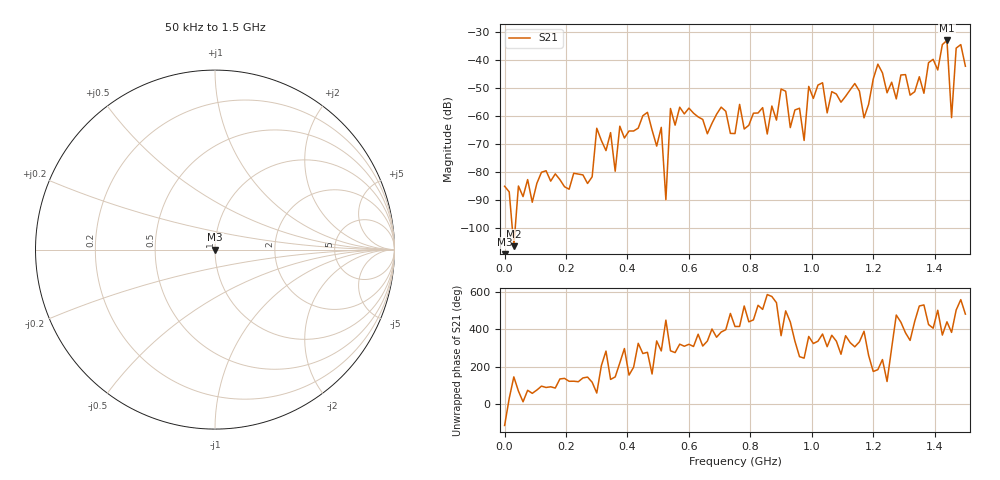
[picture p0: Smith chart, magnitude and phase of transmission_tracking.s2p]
! Created with skrf 1.8.0 (http://scikit-rf.org).
# Hz S RI R 50.0
!freq ReS11 ImS11 ReS21 ImS21 ReS12 ImS12 ReS22 ImS22
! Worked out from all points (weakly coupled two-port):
!   101 points, 50 kHz to 1.5 GHz, reference 50 ohm
!   highest |S21| = -32.86 dB at 1.44 GHz (marker M1); lowest = -106.4 dB at 30.05 MHz (marker M2)
!   lowest |S11| = - dB at 50 kHz (marker M3), VSWR 1.00, Z = 50 + j0 ohm
!   |S11| at or under -10 dB: start of sweep to end of sweep
!   S12 and S22 are empty: the file has one direction only
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50000  0 0  -2.4e-05 -5.1e-05  0 0  0 0
3.0049e7  0 0  -3.92e-06 2.75e-06  0 0  0 0
2.550415e8  0 0  -6.81e-05 5.86e-05  0 0  0 0
3.0004e8  0 0  0.000321 0.000522  0 0  0 0
3.60038e8  0 0  -8.53e-05 6.05e-05  0 0  0 0
3.750375e8  0 0  -0.000513 -0.000427  0 0  0 0
5.10033e8  0 0  0.000152 -0.000617  0 0  0 0
5.250325e8  0 0  6.88e-07 3.25e-05  0 0  0 0
5.40032e8  0 0  0.000347 -0.00134  0 0  0 0
7.50025e8  0 0  0.000285 0.000403  0 0  0 0
8.550215e8  0 0  -0.000337 -0.000347  0 0  0 0
9.0002e8  0 0  0.00306 0.000291  0 0  0 0
9.750175e8  0 0  -0.000155 -0.000337  0 0  0 0
9.90017e8  0 0  0.00343 8.5e-05  0 0  0 0
1.005016e9  0 0  0.00168 -0.00124  0 0  0 0
1.170011e9  0 0  0.000822 0.00046  0 0  0 0
1.260008e9  0 0  0.00202 -0.00354  0 0  0 0
1.365004e9  0 0  -0.00255 0.000437  0 0  0 0
1.440002e9  0 0  0.00397 0.0224  0 0  0 0
1.455002e9  0 0  0.000873 0.000374  0 0  0 0
1.470001e9  0 0  -0.0133 0.00998  0 0  0 0
1.5e9  0 0  -0.00408 0.00673  0 0  0 0
